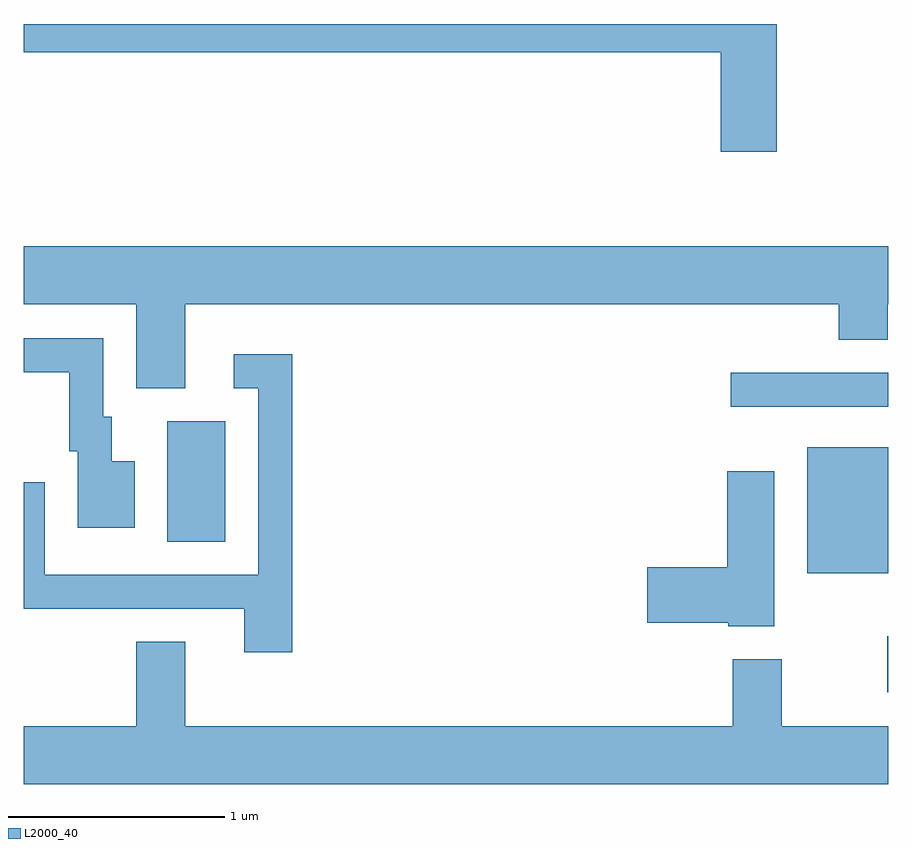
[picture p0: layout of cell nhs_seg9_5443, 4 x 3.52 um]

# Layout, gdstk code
import gdstk
lib = gdstk.Library(unit=1e-6, precision=1e-09)
def R(c, l, rs):  # rectangles x0, y0, x1, y1
    for r in rs: c.add(gdstk.rectangle(r[:2], r[2:], *l))
def P(c, l, *ps):  # polygons
    for p in ps: c.add(gdstk.Polygon(p, *l))
L2000_40 = (2000, 40)

nhs_seg9_5443 = lib.new_cell('nhs_seg9_5443')
R(nhs_seg9_5443, L2000_40, [(349.606,2003.341,349.611,2003.599), (349.236,2003.891,349.611,2004.474), (346.276,2004.036,346.544,2004.594), (348.883,2004.661,349.611,2004.819)])
P(nhs_seg9_5443, L2000_40, [(349.094,2006.432),(345.611,2006.432),(345.611,2006.301),(348.836,2006.301),(348.836,2005.841),(349.094,2005.841)],
  [(346.359,2005.136),(349.381,2005.136),(349.381,2004.971),(349.609,2004.971),(349.609,2005.136),(349.611,2005.136),(349.611,2005.404),(345.611,2005.404),(345.611,2005.136),(346.131,2005.136),(346.131,2004.746),(346.359,2004.746)],
  [(346.124,2004.409),(346.019,2004.409),(346.019,2004.614),(345.979,2004.614),(345.979,2004.979),(345.611,2004.979),(345.611,2004.821),(345.821,2004.821),(345.821,2004.456),(345.861,2004.456),(345.861,2004.101),(346.124,2004.101)],
  [(346.854,2004.904),(346.583,2004.904),(346.583,2004.746),(346.696,2004.746),(346.696,2003.884),(345.709,2003.884),(345.709,2004.313),(345.611,2004.313),(345.611,2003.726),(346.631,2003.726),(346.631,2003.526),(346.854,2003.526)],
  [(349.084,2004.364),(348.866,2004.364),(348.866,2003.919),(348.496,2003.919),(348.496,2003.661),(348.87,2003.661),(348.87,2003.646),(349.084,2003.646)],
  [(349.611,2003.184),(349.119,2003.184),(349.119,2003.494),(348.891,2003.494),(348.891,2003.184),(346.359,2003.184),(346.359,2003.574),(346.131,2003.574),(346.131,2003.184),(345.611,2003.184),(345.611,2002.916),(349.611,2002.916)])

lib.write_gds('nhs_seg9_5443.gds')
